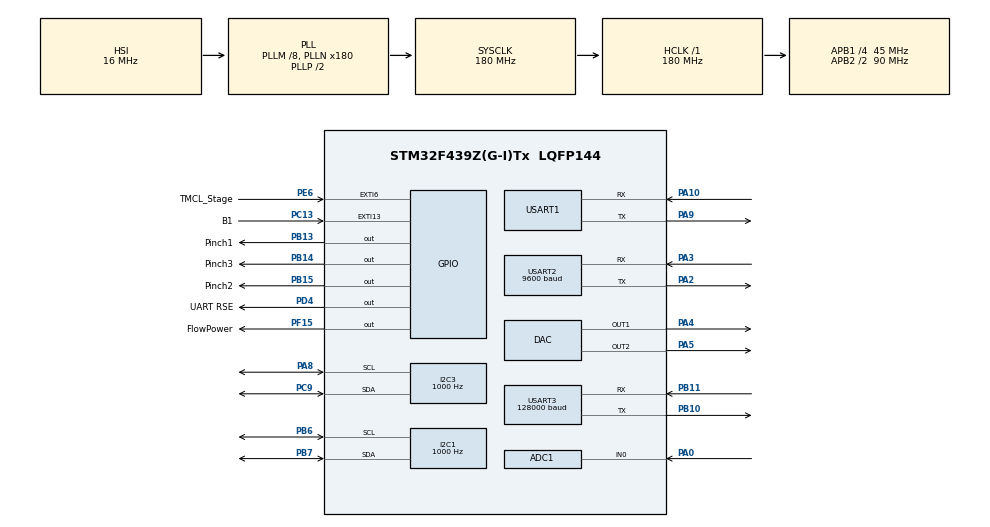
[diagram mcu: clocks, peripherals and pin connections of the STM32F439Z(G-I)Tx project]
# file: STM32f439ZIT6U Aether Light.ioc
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ADC1.Channel-0\#ChannelRegularConversion=ADC_CHANNEL_0
ADC1.ContinuousConvMode=ENABLE
ADC1.DMAContinuousRequests=ENABLE
ADC1.EnableAnalogWatchDog=false
ADC1.NbrOfConversion=1
ADC1.NbrOfConversionFlag=1
ADC1.Rank-0\#ChannelRegularConversion=1
ADC1.SamplingTime-0\#ChannelRegularConversion=ADC_SAMPLETIME_3CYCLES
ADC1.ScanConvMode=ENABLE
ADC1.master=1
Dma.ADC1.0.Direction=DMA_PERIPH_TO_MEMORY
Dma.ADC1.0.FIFOMode=DMA_FIFOMODE_DISABLE
Dma.ADC1.0.Instance=DMA2_Stream0
Dma.ADC1.0.MemDataAlignment=DMA_MDATAALIGN_HALFWORD
Dma.ADC1.0.MemInc=DMA_MINC_ENABLE
Dma.ADC1.0.Mode=DMA_CIRCULAR
Dma.ADC1.0.PeriphDataAlignment=DMA_PDATAALIGN_HALFWORD
Dma.ADC1.0.PeriphInc=DMA_PINC_DISABLE
Dma.ADC1.0.Priority=DMA_PRIORITY_LOW
Dma.Request0=ADC1
Dma.Request1=USART1_RX
Dma.Request2=USART1_TX
Dma.Request3=USART2_RX
Dma.Request4=USART2_TX
Dma.USART1_RX.1.Direction=DMA_PERIPH_TO_MEMORY
Dma.USART1_RX.1.FIFOMode=DMA_FIFOMODE_DISABLE
Dma.USART1_RX.1.Instance=DMA2_Stream2
Dma.USART1_RX.1.MemDataAlignment=DMA_MDATAALIGN_BYTE
Dma.USART1_RX.1.MemInc=DMA_MINC_ENABLE
Dma.USART1_RX.1.Mode=DMA_NORMAL
Dma.USART1_RX.1.PeriphDataAlignment=DMA_PDATAALIGN_BYTE
Dma.USART1_RX.1.PeriphInc=DMA_PINC_DISABLE
Dma.USART1_RX.1.Priority=DMA_PRIORITY_LOW
Dma.USART1_TX.2.Direction=DMA_MEMORY_TO_PERIPH
Dma.USART1_TX.2.FIFOMode=DMA_FIFOMODE_DISABLE
Dma.USART1_TX.2.Instance=DMA2_Stream7
Dma.USART1_TX.2.MemDataAlignment=DMA_MDATAALIGN_BYTE
Dma.USART1_TX.2.MemInc=DMA_MINC_ENABLE
Dma.USART1_TX.2.Mode=DMA_NORMAL
Dma.USART1_TX.2.PeriphDataAlignment=DMA_PDATAALIGN_BYTE
Dma.USART1_TX.2.PeriphInc=DMA_PINC_DISABLE
Dma.USART1_TX.2.Priority=DMA_PRIORITY_LOW
Dma.USART2_RX.3.Direction=DMA_PERIPH_TO_MEMORY
Dma.USART2_RX.3.FIFOMode=DMA_FIFOMODE_DISABLE
Dma.USART2_RX.3.Instance=DMA1_Stream5
Dma.USART2_RX.3.MemDataAlignment=DMA_MDATAALIGN_BYTE
Dma.USART2_RX.3.MemInc=DMA_MINC_ENABLE
Dma.USART2_RX.3.Mode=DMA_NORMAL
Dma.USART2_RX.3.PeriphDataAlignment=DMA_PDATAALIGN_BYTE
Dma.USART2_RX.3.PeriphInc=DMA_PINC_DISABLE
Dma.USART2_RX.3.Priority=DMA_PRIORITY_LOW
Dma.USART2_TX.4.Direction=DMA_MEMORY_TO_PERIPH
Dma.USART2_TX.4.FIFOMode=DMA_FIFOMODE_DISABLE
Dma.USART2_TX.4.Instance=DMA1_Stream6
Dma.USART2_TX.4.MemDataAlignment=DMA_MDATAALIGN_BYTE
Dma.USART2_TX.4.MemInc=DMA_MINC_ENABLE
Dma.USART2_TX.4.Mode=DMA_NORMAL
Dma.USART2_TX.4.PeriphDataAlignment=DMA_PDATAALIGN_BYTE
Dma.USART2_TX.4.PeriphInc=DMA_PINC_DISABLE
Dma.USART2_TX.4.Priority=DMA_PRIORITY_LOW
I2C1.Analog_Filter=I2C_ANALOGFILTER_ENABLE
I2C1.ClockSpeed=1000
I2C3.ClockSpeed=1000
I2C3.I2C_Mode=I2C_Standard
Mcu.Family=STM32F4
Mcu.Name=STM32F439Z(G-I)Tx
Mcu.Package=LQFP144
NVIC.ADC_IRQn=true\:0\:0\:false\:false\:true\:true\:true
NVIC.DMA1_Stream5_IRQn=true\:1\:0\:true\:false\:true\:false\:true
NVIC.DMA1_Stream6_IRQn=true\:1\:0\:true\:false\:true\:false\:true
NVIC.DMA2_Stream0_IRQn=true\:1\:0\:true\:false\:true\:false\:true
NVIC.DMA2_Stream2_IRQn=true\:1\:0\:true\:false\:true\:false\:true
NVIC.DMA2_Stream7_IRQn=true\:1\:0\:true\:false\:true\:false\:true
NVIC.EXTI15_10_IRQn=true\:0\:0\:true\:false\:true\:true\:true
NVIC.EXTI9_5_IRQn=true\:0\:0\:false\:false\:true\:true\:true
NVIC.PriorityGroup=NVIC_PRIORITYGROUP_4
NVIC.USART1_IRQn=true\:1\:0\:true\:false\:true\:true\:true
NVIC.USART2_IRQn=true\:1\:0\:true\:false\:true\:true\:true
PA0/WKUP.Signal=ADCx_IN0
PA10.Mode=Asynchronous
PA10.Signal=USART1_RX
PA2.Mode=Asynchronous
PA2.Signal=USART2_TX
PA3.Mode=Asynchronous
PA3.Signal=USART2_RX
PA4.Signal=COMP_DAC1_group
PA5.Signal=COMP_DAC2_group
PA8.Mode=I2C
PA8.Signal=I2C3_SCL
PA9.Mode=Asynchronous
PA9.Signal=USART1_TX
PB10.Mode=Asynchronous
PB10.Signal=USART3_TX
PB11.Mode=Asynchronous
PB11.Signal=USART3_RX
PB13.GPIO_Label=Pinch1
PB13.Signal=GPIO_Output
PB14.GPIO_Label=Pinch3
PB14.Signal=GPIO_Output
PB15.GPIO_Label=Pinch2
PB15.Signal=GPIO_Output
PB6.Mode=I2C
PB6.Signal=I2C1_SCL
PB7.Mode=I2C
PB7.Signal=I2C1_SDA
PC13.GPIO_Label=B1
PC13.GPIO_PuPd=GPIO_PULLDOWN
PC13.Signal=GPXTI13
PC9.Mode=I2C
PC9.Signal=I2C3_SDA
PD4.GPIO_Label=UART RSE
PD4.Signal=GPIO_Output
PE6.GPIO_Label=TMCL_Stage
PE6.GPIO_ModeDefaultEXTI=GPIO_MODE_IT_RISING_FALLING
PE6.GPIO_PuPd=GPIO_PULLDOWN
PE6.Signal=GPXTI6
PF15.GPIO_Label=FlowPower
PF15.Signal=GPIO_Output
ProjectManager.HeapSize=0x200
ProjectManager.StackSize=0x400
ProjectManager.TargetToolchain=STM32CubeIDE
RCC.48MHZClocksFreq_Value=90000000
RCC.AHBFreq_Value=180000000
RCC.APB1CLKDivider=RCC_HCLK_DIV4
RCC.APB1Freq_Value=45000000
RCC.APB1TimFreq_Value=90000000
RCC.APB2CLKDivider=RCC_HCLK_DIV2
RCC.APB2Freq_Value=90000000
RCC.APB2TimFreq_Value=180000000
RCC.CortexFreq_Value=180000000
RCC.HCLKFreq_Value=180000000
RCC.HSE_VALUE=25000000
RCC.HSI_VALUE=16000000
RCC.LSE_VALUE=32768
RCC.PLLM=8
RCC.PLLN=180
RCC.SYSCLKFreq_VALUE=180000000
RCC.SYSCLKSource=RCC_SYSCLKSOURCE_PLLCLK
RCC.VCOOutputFreq_Value=360000000
SH.ADCx_IN0.0=ADC1_IN0,IN0
SH.COMP_DAC1_group.0=DAC_OUT1,DAC_OUT1
SH.COMP_DAC2_group.0=DAC_OUT2,DAC_OUT2
USART1.Parity=PARITY_EVEN
USART1.StopBits=STOPBITS_2
USART1.VirtualMode=VM_ASYNC
USART1.WordLength=WORDLENGTH_9B
USART2.BaudRate=9600
USART2.Parity=PARITY_NONE
USART2.StopBits=STOPBITS_1
USART2.VirtualMode=VM_ASYNC
USART2.WordLength=WORDLENGTH_8B
USART3.BaudRate=128000
USART3.VirtualMode=VM_ASYNC
VP_RTC_VS_RTC_Activate.Mode=RTC_Enabled
board=custom

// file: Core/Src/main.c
/* USER CODE BEGIN Header */
/*
------------------------------------------------------------------------------
   Project	: Ventilator control system
   File     : main.c
   Brief    : Source file for the main.c file. This software was developed
   	   	   	  on the NUCLEO F439ZI development board.
   Author 	: Nicholas Antoniades
------------------------------------------------------------------------------
*/
/* USER CODE END Header */
#include "main.h"
#include "adc.h"
#include "dac.h"
#include "dma.h"
#include "i2c.h"
#include "rtc.h"
#include "usart.h"
#include "gpio.h"

/* USER CODE BEGIN Includes */
#include <string.h>
#include <stdio.h>
#include "sfm3000.h"
#include <math.h>
/* USER CODE END Includes */

void SystemClock_Config(void);

/* USER CODE BEGIN 0 */
// Hardware defined variables
#define  gearRatio 1.6	 	      	   // Gear ratio
#define  microStep 16 		 	       // Stepper motor driver micro stepping factor
uint16_t TotalStepsPerCycle = 200;     // Set this to total steps for full rotation of the stepper motor for 1:1 stepping
uint8_t  defaultDirection = 0;	       // Used to indicate direction default of stepper driver

// Variables to be initialized for ventilation
#define  clockFreq 180000000	           // Set this to the clock frequency
#define  counterPeriod 100		       // Set the PWM counter period0
uint32_t StepsHalfCycle;		       // Set this to total steps for half rotation
uint32_t RequiredStepsHalfCycle;       // Steps required for desired tidal volume
uint32_t InspFreq;				       // Inspiration frequency
uint32_t ExpFreq;				       // Expiration frequency
uint32_t InspTime;				       // Inspiration time
uint32_t ExpTime;				       // Expiration time
uint32_t TotalCycleTime;	           // TotalCycleTime = InspTime + ExpTime
uint32_t ExpPSC;			           // Expiration PSC value
uint32_t InspPSC;			    	   // Inspiration PSC value

// Variables to be controlled for ventilation
// *** These are hard coded for now.
uint32_t VentMethod;			       // Set this to control ventilation type
uint8_t  BPM = 20;		    	       // Change this to control BPM
double 	 IEratio = 2;		           // IEratio =InspTime*ExpTime
uint8_t  Vmax = 100;			       // Max deliverable volume
uint8_t  Vdes = 100;			       // Desired volume to deliver
uint32_t stepCounter = 0;		       // Step counter
uint8_t  cycleStage = 1;               // Set initial cycle stage to Expiration
uint8_t  updateIndicator = 0;          // Used to indicate when a state update is required
int      state = 0;				       // Initialize to state 0

// Set Symbolic names: TMCL motor driver
int motorAddress = 1;   // Motor number default 1
int motorNumber = 0;	// Motor number default 0
int Bank0 = 0;			// Memory bank 0
int Bank1 = 1;			// Memory bank 1
int Bank2 = 2;			// Memory bank 2
// Set Symbolic names: Memory variables
int TMCLstate = 0;			// TMCL state
int vInsp = 1; 			// Inspiration velocity
int vExsp = 2;			// Expiration velocity
int amax = 3;			// Max acceleration
int cmax = 4;        	// Max current 0..256
int dmax = 5;			// Max deceleration
int posInspiration = 6;	// Inhaltion position
int posExpiration = 7;	// Exhalation position
// Set Symbolic names: Command variables
int GAP = 6;
int SGP = 9;			// Set Global Parameter
int GGP = 10;
int STGP = 11;			// Store Global Paramater

// Variables to be initialized for UART: HMI
#define HMIBufferSize 12			  		 // UART buffer size
uint8_t HMI_tx_buff[HMIBufferSize] = {0};	 // UART Transmit buffer
uint8_t HMI_rx_buff[HMIBufferSize] = {0};	 // UART Receive buffer

// Variables to be initialized for UART: TMCL driver
#define TMCLtxBufferSize 9			   		 // UART tx buffer size
#define TMCLrxBufferSize 9
uint8_t TMCL_tx_buff[TMCLtxBufferSize] = {0};  // UART Transmit buffer
uint8_t TMCL_rx_buff[TMCLrxBufferSize] = {0};  // UART Receive buffer

// Variables to be initialized for I2C
#define I2CBufferSize 6			   			 // I2C buffer size
uint8_t I2C_tx_buff[I2CBufferSize] = {0};	 // I2C Transmit buffer
uint8_t I2C_rx_buff[I2CBufferSize] = {0};	 // I2C Receive buffer

// Variables to be initialized for I2C: Sensirion flow sensor
float    FlowSensirion[20] = {0};			// Flow values
float	 TidalVolume[2] = {0};			// Calculated volume
uint32_t StatusSensirion = 0;			// Status bit for the sensor
uint8_t  FlowBuffer[3] = {0};			// Buffer to recieve sensor values
float FlowSensirionTotal = 0;
float FlowSensirionAverage = 0;
float deltaFlow = 0;
float deltaVolume;
float deltaFlowTime;

// Variables to be initialized for I2C: Honeywell pressure sensor
uint8_t  PressureHoneywell = 0;			// Pressure value
uint8_t  TempHoneywell = 0;				// Temperature value
uint8_t  StatusHoneywell = 0;			// Status bit for the sensor
uint8_t	 PressureBuffer[4] = {0};		// Buffer to recieve the sensor values

// Variables to be initialized for I2C: Azotech sensors
//uint8_t Device_Addr= 0x44 << 1 ;       // 8-bit device address shifted 1 for r/w bit
//uint8_t Device_write_reg = 0x09;
//uint8_t Device_read_reg = 0x02;

// Variables to initialized for ADC
#define  numADCchannels 1 		       // Set this value to be the number of channels
uint32_t value_adc[numADCchannels];    // Buffer size, 32 bit for 12 bit ADC resolution
float pressure;						   // Variable to hold the ADC value for pressure

// Variables to be initialized for timer interrupts
uint8_t toggleValue;

// Variables required for functions
// Convert to 8-bit
uint8_t eightBitResult[4];

// Variables required for RTC
RTC_DateTypeDef currentDate;
RTC_TimeTypeDef timeStampCurrent;
float timeCurrent = 0;
RTC_TimeTypeDef timeStampOld;
float timeOld = 0;
RTC_TimeTypeDef changeTime;
float deltaTime = 0;
float Seconds = 0;
//serial comms
uint8_t buf[12];
/* USER CODE END 0 */

int main(void)
{

  /* MCU Configuration--------------------------------------------------------*/

  /* Reset of all peripherals, Initializes the Flash interface and the Systick. */
  HAL_Init();

  /* Configure the system clock */
  SystemClock_Config();

  /* Initialize all configured peripherals */
  MX_GPIO_Init();
  MX_DMA_Init();
  MX_ADC1_Init();
  MX_I2C1_Init();
  MX_USART1_UART_Init();
  MX_USART2_UART_Init();
  MX_I2C3_Init();
  MX_DAC_Init();
  MX_RTC_Init();
  MX_USART3_UART_Init();
  /* USER CODE BEGIN 2 */

  initializations();		// User initializations
  //I2C_write(Device_Addr, Device_write_reg, I2C_tx_buff, I2C_rx_buff); // Initialize device being communicated too

  /* USER CODE END 2 */

  /* Infinite loop */
  /* USER CODE BEGIN WHILE */

  while (1)
  {
		// Reading in from Sensirion flow sensor
		SensirionFlowSensor(FlowBuffer, FlowSensirion /*lpm*/, deltaFlow/*lpm*/,FlowSensirionTotal);

		// Getting delta time stamp from RTC
		HAL_RTC_GetTime(&hrtc, &timeStampCurrent, RTC_FORMAT_BIN);
		HAL_RTC_GetDate(&hrtc, &currentDate, RTC_FORMAT_BIN);

		// timeStampCurrent.miliSeconds is fraction of a second counting down from 255 to 0.
		Seconds = (float)(timeStampCurrent.SecondFraction-timeStampCurrent.SubSeconds) / (float)(timeStampCurrent.SecondFraction + 1);			// convert subseconds to millisecond
		timeCurrent = (float)timeStampCurrent.Hours*3600 + (float)timeStampCurrent.Minutes*60 + (float)timeStampCurrent.Seconds + Seconds;  // Current time = Hours*3600 minutes*60 + seconds + milli seconds
		deltaTime = timeCurrent - timeOld; 	// Calculating time since last sample
		timeOld = timeCurrent;			   // Set previous value = current

		//Trapeziodal integration method
		IntegrationForVolume(deltaFlow/*lpm*/, deltaTime /*s*/, FlowSensirion/*lpm*/, TidalVolume/*l*/);

		// Reading in from Honeywell pressure sensor
		HoneyWellPressure(PressureBuffer, StatusHoneywell, PressureHoneywell,TempHoneywell);

		// Toggling DMA streams for messaging and reading ADC values
		if(toggleValue == 1){
			HAL_ADC_Stop_DMA(&hadc1); 		// Close ADC DMA stream
			UARTSendDMA(eightBitResult, pressure, HMI_tx_buff, FlowSensirion, TidalVolume, HMI_rx_buff);
			toggleValue = 0;
		}else{
			HAL_UART_DMAStop(&huart1); // Close UART DMA stream
			HAL_ADC_Start_DMA(&hadc1, value_adc,numADCchannels);
			toggleValue = 1;
		}
  }
    /* USER CODE END WHILE */

}

void SystemClock_Config(void)
{
  RCC_OscInitTypeDef RCC_OscInitStruct = {0};
  RCC_ClkInitTypeDef RCC_ClkInitStruct = {0};
  RCC_PeriphCLKInitTypeDef PeriphClkInitStruct = {0};

  /** Configure the main internal regulator output voltage
  */
  __HAL_RCC_PWR_CLK_ENABLE();
  __HAL_PWR_VOLTAGESCALING_CONFIG(PWR_REGULATOR_VOLTAGE_SCALE1);
  /** Initializes the RCC Oscillators according to the specified parameters
  * in the RCC_OscInitTypeDef structure.
  */
  RCC_OscInitStruct.OscillatorType = RCC_OSCILLATORTYPE_HSI|RCC_OSCILLATORTYPE_LSI;
  RCC_OscInitStruct.HSIState = RCC_HSI_ON;
  RCC_OscInitStruct.HSICalibrationValue = RCC_HSICALIBRATION_DEFAULT;
  RCC_OscInitStruct.LSIState = RCC_LSI_ON;
  RCC_OscInitStruct.PLL.PLLState = RCC_PLL_ON;
  RCC_OscInitStruct.PLL.PLLSource = RCC_PLLSOURCE_HSI;
  RCC_OscInitStruct.PLL.PLLM = 8;
  RCC_OscInitStruct.PLL.PLLN = 180;
  RCC_OscInitStruct.PLL.PLLP = RCC_PLLP_DIV2;
  RCC_OscInitStruct.PLL.PLLQ = 4;
  if (HAL_RCC_OscConfig(&RCC_OscInitStruct) != HAL_OK)
  {
    Error_Handler();
  }
  /** Activate the Over-Drive mode
  */
  if (HAL_PWREx_EnableOverDrive() != HAL_OK)
  {
    Error_Handler();
  }
  /** Initializes the CPU, AHB and APB buses clocks
  */
  RCC_ClkInitStruct.ClockType = RCC_CLOCKTYPE_HCLK|RCC_CLOCKTYPE_SYSCLK
                              |RCC_CLOCKTYPE_PCLK1|RCC_CLOCKTYPE_PCLK2;
  RCC_ClkInitStruct.SYSCLKSource = RCC_SYSCLKSOURCE_PLLCLK;
  RCC_ClkInitStruct.AHBCLKDivider = RCC_SYSCLK_DIV1;
  RCC_ClkInitStruct.APB1CLKDivider = RCC_HCLK_DIV4;
  RCC_ClkInitStruct.APB2CLKDivider = RCC_HCLK_DIV2;

  if (HAL_RCC_ClockConfig(&RCC_ClkInitStruct, FLASH_LATENCY_5) != HAL_OK)
  {
    Error_Handler();
  }
  PeriphClkInitStruct.PeriphClockSelection = RCC_PERIPHCLK_RTC;
  PeriphClkInitStruct.RTCClockSelection = RCC_RTCCLKSOURCE_LSI;
  if (HAL_RCCEx_PeriphCLKConfig(&PeriphClkInitStruct) != HAL_OK)
  {
    Error_Handler();
  }
}

/* USER CODE BEGIN 4 */
void initializations(void){
	// Calculating total steps to be taken by factoring in gear ratio and micro stepping.
	TotalStepsPerCycle = TotalStepsPerCycle*microStep*gearRatio;
	StepsHalfCycle = TotalStepsPerCycle/2;
	RequiredStepsHalfCycle = (TotalStepsPerCycle*Vdes)/(Vmax*2);

	// Setting up Inspiration and Expiration times, frequencies and the IE ratio.
	TotalCycleTime = 60/BPM;
	InspTime = TotalCycleTime*(IEratio/(1+IEratio));
	ExpTime  = TotalCycleTime*(1/(1+IEratio));
	InspFreq = RequiredStepsHalfCycle/InspTime;
	ExpFreq  = RequiredStepsHalfCycle/ExpTime;
	ExpPSC   = ((float)clockFreq/counterPeriod)/ExpFreq;
	InspPSC  = ((float)clockFreq/counterPeriod)/InspFreq;

	// Initializing pinch valves
	HAL_GPIO_WritePin(Pinch1_GPIO_Port, Pinch1_Pin, 0);
	HAL_GPIO_WritePin(Pinch2_GPIO_Port, Pinch2_Pin, 0);
	HAL_GPIO_WritePin(Pinch3_GPIO_Port, Pinch3_Pin, 0);
	// Power up flow sensor
	HAL_GPIO_WritePin(FlowPower_GPIO_Port, FlowPower_Pin, GPIO_PIN_SET);

	// Initializing I2C
	// Sensirion Flow sensor
	sfm3000initFlow();

	// Initialize RS485 to tx
	HAL_GPIO_WritePin(UART_RSE_GPIO_Port,UART_RSE_Pin, GPIO_PIN_SET); // Toggle RSE pin to send message over RS485

	// Initialize interrupts
//	HAL_TIM_Base_Start_IT(&htim3);
}
void HAL_GPIO_EXTI_Callback( uint16_t GPIO_Pin){
	switch(GPIO_Pin){

	  // TMCl OUT0 interrupt line
	  case TMCL_Stage_Pin:
		  if(HAL_GPIO_ReadPin(TMCL_Stage_GPIO_Port, TMCL_Stage_Pin))
		  {
			  	HAL_GPIO_WritePin(Pinch1_GPIO_Port, Pinch1_Pin, 0);
			  	HAL_GPIO_WritePin(Pinch2_GPIO_Port, Pinch2_Pin, GPIO_PIN_SET);
				HAL_GPIO_WritePin(Pinch3_GPIO_Port, Pinch3_Pin, GPIO_PIN_SET);

		  }else{

			  	HAL_GPIO_WritePin(Pinch1_GPIO_Port, Pinch1_Pin, GPIO_PIN_SET);
			  	// This delay needs to be done correctly
				for(int i = 4000000;i>0;i--){
					__NOP();
				}
				HAL_GPIO_WritePin(Pinch2_GPIO_Port, Pinch2_Pin, 0);
				HAL_GPIO_WritePin(Pinch3_GPIO_Port, Pinch3_Pin, 0);

		  }
		  TidalVolume[0] = 0;
		  TidalVolume[1] = 0;
		break;

	  // B1 button interrupt
	  case B1_Pin:
		  switch(state){
			  case 0:
				  while(TMCL_rx_buff[8] != 1){
					  TMCL_UART_Message(motorAddress,SGP,TMCLstate,Bank2,1);
				  }
				  state = 1;
				  break;

			  case 1:
				  while(TMCL_rx_buff[8] != 0){
				   TMCL_UART_Message(motorAddress,SGP,TMCLstate,Bank2,0);
				  }
				  state = 0;
				  break;
		  }
		  break;
	}
}
void IntegrationForVolume(float deltaFlow, float deltaTime,	float FlowSensirion[20], float TidalVolume[2]) {
	// Trapeziodal integration method
	// volume(t=1)"L"   = volume(t=0)"L" + (deltaTime)"min"              *(deltaFlow)"lpm"
	// volume(t=1)"mil" = volume(t=0)"L" + (deltaTime)"sec" *(1/60)"min" *(deltaFlow)"lpm" *(1000)"litres"

	TidalVolume[0] = TidalVolume[1] + (deltaTime /*s*/ *0.01666)/*min*/*((FlowSensirion[1] - FlowSensirion[0])*(0.5) + FlowSensirion[1])/*l*/*1000/*mil*/;   // Tidal Volume in L
	TidalVolume[1] = TidalVolume[0];
}

void TMCL_UART_Message(uint8_t moduleAddress,uint8_t commandNumber,uint8_t commandType,uint8_t motorNumber,uint32_t commandValue){

	// Breaking a 32 bit value into 8 byte values.
	uint32_t ValueByte0 = ((commandValue >> 24) & 0xFF) ;
	uint32_t ValueByte1 = ((commandValue >> 16) & 0xFF) ;
	uint32_t ValueByte2 = ((commandValue >> 8 ) & 0XFF);
	uint32_t ValueByte3 = (commandValue & 0XFF);

	// TMCL Command Format
	TMCL_tx_buff[0] = moduleAddress;          // Module address
	TMCL_tx_buff[1] = commandNumber; 	      // Command number
	TMCL_tx_buff[2] = commandType;            // Type number
	TMCL_tx_buff[3] = motorNumber; 		      // Motor or bank number
	TMCL_tx_buff[4] = ValueByte0; 	          // Value byte 1 (MSB first)
	TMCL_tx_buff[5] = ValueByte1;		      // Value byte 2
	TMCL_tx_buff[6] = ValueByte2;      		  // Value byte 3
	TMCL_tx_buff[7] = ValueByte3;        	  // Value byte 4
	TMCL_tx_buff[8] = CheckSum(TMCL_tx_buff); // Checksum

	HAL_UART_Transmit(&huart2, TMCL_tx_buff, TMCLtxBufferSize,1); 	// Send message
	for(int i = 1000;i>0;i--){
		__NOP();
	}
	HAL_GPIO_WritePin(UART_RSE_GPIO_Port,UART_RSE_Pin , 0);		    // Toggle RSE pin to recieve message over RS485
	HAL_UART_Receive(&huart2, TMCL_rx_buff, TMCLrxBufferSize,1);   // Receive reply
	for(int i = 16000;i>0;i--){
		__NOP();
	}
	HAL_GPIO_WritePin(UART_RSE_GPIO_Port,UART_RSE_Pin , 1);		    // Toggle RSE pin to recieve message over RS485

	// TMCL Reply Format
	//		TMCL_rx_buff[0] = ;	// reply address
	//		TMCL_rx_buff[1] = ; // module address
	//		TMCL_rx_buff[2] = ; // status
	//		TMCL_rx_buff[3] = ; // command number
	//		TMCL_rx_buff[4] = ; // Value byte 1 (MSB first)
	//		TMCL_rx_buff[5] = ; // Value byte 2
	//		TMCL_rx_buff[6] = ; // Value byte 3
	//		TMCL_rx_buff[7] = ; // Value byte 4
	//      TMCL_rx_buff[8] = CheckSum;
}
void SensirionFlowSensor(uint8_t FlowBuffer[3], float FlowSensirion[20], float deltaFlow, float FlowSensirionTotal) {
	// Reading in from Sensirion flow sensor
	HAL_I2C_Master_Receive(SFM3000_I2C_INS, SFM3000_I2C_ADDRESS, FlowBuffer,
			SFM3000_READ_DATA_SIZE, 0xFF);
	// Creating an array with previous flow values
	for (int i = 7; i > 0; i--) {
		FlowSensirion[i] = FlowSensirion[i - 1];
	}
	// Updating flow latest value
	FlowSensirion[0] = ((((float) ((FlowBuffer[0] << 8) | FlowBuffer[1])) - SFM3000_OFFSET_PARAMETER ) / SFM3000_SCALE_PARAMETER ); // Calculate flow from sensor output
	// Check for large change in Flow possibly caused by noise.
	deltaFlow = FlowSensirion[1] - FlowSensirion[0]; //Calculate change in flow
//	if (deltaFlow > 100 || deltaFlow < -100) {
//		// Flow at this point is in slm.
//		FlowSensirion[0] = FlowSensirion[1]; // If it is let current flow val = previous flow val
//	}
	// Check to see if this is the standard method.
	// Check to see if flow sensor requires reset
	if (FlowSensirion[0] == FlowSensirion[1]) {
		// Initialize sensirion flow sensor
		sfm3000initFlow();
	}
	// Rolling average filter
//	FlowSensirionTotal = FlowSensirion[0] + FlowSensirion[1];
//	FlowSensirion[0] = FlowSensirionTotal / 2;

	//		int filterValue = 2;
	//		for(int i = 2; i>= 0; i ++){
	//			FlowSensirionTotal = FlowSensirionTotal + FlowSensirion[i];
	//		}
}
void UARTSendDMA(uint8_t eightBitResult[4], float pressure,	uint8_t HMI_tx_buff[HMIBufferSize], float FlowSensirion[20],float TidalVolume[2], uint8_t HMI_rx_buff[HMIBufferSize]) {
	// Pressure value for comms
	CTBVTFEBV(eightBitResult, (uint16_t) pressure);
	HMI_tx_buff[0] = eightBitResult[0];
	HMI_tx_buff[1] = eightBitResult[1];
	if (FlowSensirion[0] < 0) {
		HMI_tx_buff[2] = (-1) * FlowSensirion[0];
		HMI_tx_buff[3] = 1;
	} else {
		HMI_tx_buff[2] = FlowSensirion[0];
		HMI_tx_buff[3] = 0;
	}
	// Volume for comms
	CTBVTFEBV(eightBitResult, (uint16_t) TidalVolume[0]);
	HMI_tx_buff[4] = eightBitResult[0];
	HMI_tx_buff[5] = eightBitResult[1];
	HMI_tx_buff[11] = 255; // Good message check
	HAL_UART_Transmit_DMA(&huart1, HMI_tx_buff, HMIBufferSize); // Send
	HAL_UART_Receive_DMA(&huart1, HMI_rx_buff, HMIBufferSize); // Receive
}
void CTBVTFEBV(uint8_t *eightBitresult,uint32_t value){  //Convert a 32 bit value to 4 bytes
	uint8_t eightBitpart1 = 0;
	uint8_t eightBitpart2 = 0;
	uint8_t eightBitpart3 = 0;
	uint8_t eightBitpart4 = 0;
	int counter = 0;
    int digit;

	while (value > 0) {
	 digit = value % 10;
	 switch(counter){
		 case 0:
			 eightBitpart1 = digit;
	 	 	 break;
		 case 1:
			 eightBitpart1 = eightBitpart1 + digit*10 ;
	 	 	 break;
		 case 2:
			 eightBitpart2 = digit;
	 	 	 break;
		 case 3:
			 eightBitpart2 = eightBitpart2 + digit*10;
	 	 	 break;
		 case 4:
			 eightBitpart3 = digit;
	 	 	 break;
		 case 5:
			 eightBitpart3 = eightBitpart3 + digit*10 ;
	 	 	 break;
		 case 6:
			 eightBitpart4 = digit;
	 	 	 break;
		 case 7:
			 eightBitpart4 = eightBitpart3 + digit*10;
	 	 	 break;
		default:
		 	 break;
	 }
	 counter ++;
	 value /= 10;
	}
	eightBitresult[0] = eightBitpart1;
	eightBitresult[1] = eightBitpart2;
	eightBitresult[2] = eightBitpart3;
	eightBitresult[3] = eightBitpart4;
}
uint8_t CheckSum(uint8_t CommandArray[]){
	uint8_t CheckSum = 0;

	for(int i = 0; i<8; i ++){
		CheckSum += CommandArray[i];
	}
	return CheckSum;
}
void HoneyWellPressure(uint8_t PressureBuffer[4], uint8_t StatusHoneywell,uint8_t PressureHoneywell, uint8_t TempHoneywell) {
	// Reading in from Honeywell pressure sensor

	// *** fix this ***//
	I2C_read(0x28 << 1, 0x28 << 1, PressureBuffer, PressureBuffer);		  // Read in status
	StatusHoneywell = (PressureBuffer[0] & 0xc0);
	PressureHoneywell = (((PressureBuffer[0] << 8) | PressureBuffer[1])); // Read in Pressure
	TempHoneywell = (((PressureBuffer[3] << 8) | PressureBuffer[4])); 	  // Read in Temperature
}
void HAL_ADC_ConvCpltCallback(ADC_HandleTypeDef* hadc){
	// Function that is called at the end of each ADC conversion.
	pressure = (((float)value_adc[0]*10)/(4096-2055)-10.0686)*10.1972;  // Pressure in kPa -> cm H2O
	//pressure = value_adc[0];
	HAL_ADC_Stop_DMA(&hadc1);
}

void HAL_UART_TxCpltCallback (UART_HandleTypeDef *huart){
	//HAL_UART_Start_DMA(&huart1, HMI_rx_buff, HMIBufferSize);
	//HAL_UART_DMAStop(&huart1);

	if(huart == &huart2){
	  //HAL_GPIO_WritePin(UART_RSE_GPIO_Port,UART_RSE_Pin, 0); // Toggle RSE pin to send message over RS485
	}
}
void HAL_UART_RxCpltCallback(UART_HandleTypeDef *huart){
	//HAL_UART_Receive_DMA(&huart1, HMI_rx_buff, HMIBufferSize);

	// Messages recieved from TMCL
	if(huart == &huart2){
		//HAL_GPIO_WritePin(UART_RSE_GPIO_Port,UART_RSE_Pin, GPIO_PIN_SET); // Toggle RSE pin to send message over RS485
	}

    // Messages received from HMI
	if(huart == &huart1){
		   switch (HMI_rx_buff[0])
		   {
		       // Start ventilation
			   case 0:
					  break;

			   // Stop and reset
			   case 1:
					break;

			   //Update ventilation states
			   case 2:
					break;

			   // Calibrate system
			   case 3:
					break;

			   // Return current system state
			   case 4:
				   break;

			   default:	break;
		   }
	}

	HAL_UART_DMAStop(&huart1);	// Close DMA stream
}
void I2C_read(uint8_t Device_Addr, uint16_t Device_reg, uint8_t I2C_tx_buff[], uint8_t I2C_rx_buff[]){
	  // Counter to avoid infinite while loop
	  int counter = 0;
	  int counterLimit = 100;
	  // I2C_tx_buff[0] = Device_reg;
	  // I2C_tx_buff[0] = byteCommand[0];
	  // I2C_tx_buff[1] = byteCommand[1];

	  if (HAL_I2C_Master_Transmit(&hi2c3, Device_Addr, I2C_tx_buff, 1, 100) != HAL_OK){
		  __NOP();
	  }else{
		  while(1){
			  // Receive information
			  if (HAL_I2C_Master_Receive(&hi2c3, Device_Addr, I2C_rx_buff,4, 100) != HAL_OK){
					 if(counter >= counterLimit){
						 counter ++;
					 }else{
						 counter = 0;
						 break;
					 }
			  }else{
//				  sprintf((char*)I2C_rx_buff,"%u %u %u %u %u \r\n", ((unsigned int)I2C_rx_buff[0]),((unsigned int)I2C_rx_buff[1]),((unsigned int)I2C_rx_buff[2]) ,((unsigned int)I2C_rx_buff[3]) ,((unsigned int)I2C_rx_buff[4]));
//				  HAL_UART_Transmit(&huart2,I2C_rx_buff,strlen((char*)I2C_rx_buff), 100);
				  break;
			  }
		  }
	  }
}
void I2C_write(uint8_t Device_Addr, uint16_t Device_reg, uint8_t I2C_tx_buff[], uint8_t I2C_rx_buff[]){
	// Counter to avoid infinite while loop
	int counter = 0;
	int counterLimit = 100;
	while(1){
	  // I2C_tx_buff[0] = Device_reg;
	  // I2C_tx_buff[0] = byteCommand[0];
	  // I2C_tx_buff[1] = byteCommand[1];

	  if (HAL_I2C_Master_Transmit(&hi2c3, Device_Addr, I2C_tx_buff, 1, 100) != HAL_OK){
			 if(counter >= counterLimit){
				 counter ++;
			 }else{
				 counter = 0;
				 break;
			 }
	  }else{
		  counter = 0;
		  while(1){
			  if ( HAL_I2C_Mem_Write(&hi2c3, Device_Addr, Device_reg,1,I2C_tx_buff,5, 100) != HAL_OK){
					 if(counter >= counterLimit){
						 counter ++;
					 }else{
						 counter = 0;
						 break;
					 }
			  }else{
//				  sprintf((char*)I2C_rx_buff,"Write complete \r\n");
//				  HAL_UART_Transmit(&huart2,I2C_rx_buff,strlen((char*)I2C_rx_buff), 100);
				  __NOP();
				  break;
			  }
		  }
		  break;
	   }
	}
}
/* USER CODE END 4 */

void Error_Handler(void)
{
}

/************************ (C) COPYRIGHT STMicroelectronics *****END OF FILE****/
